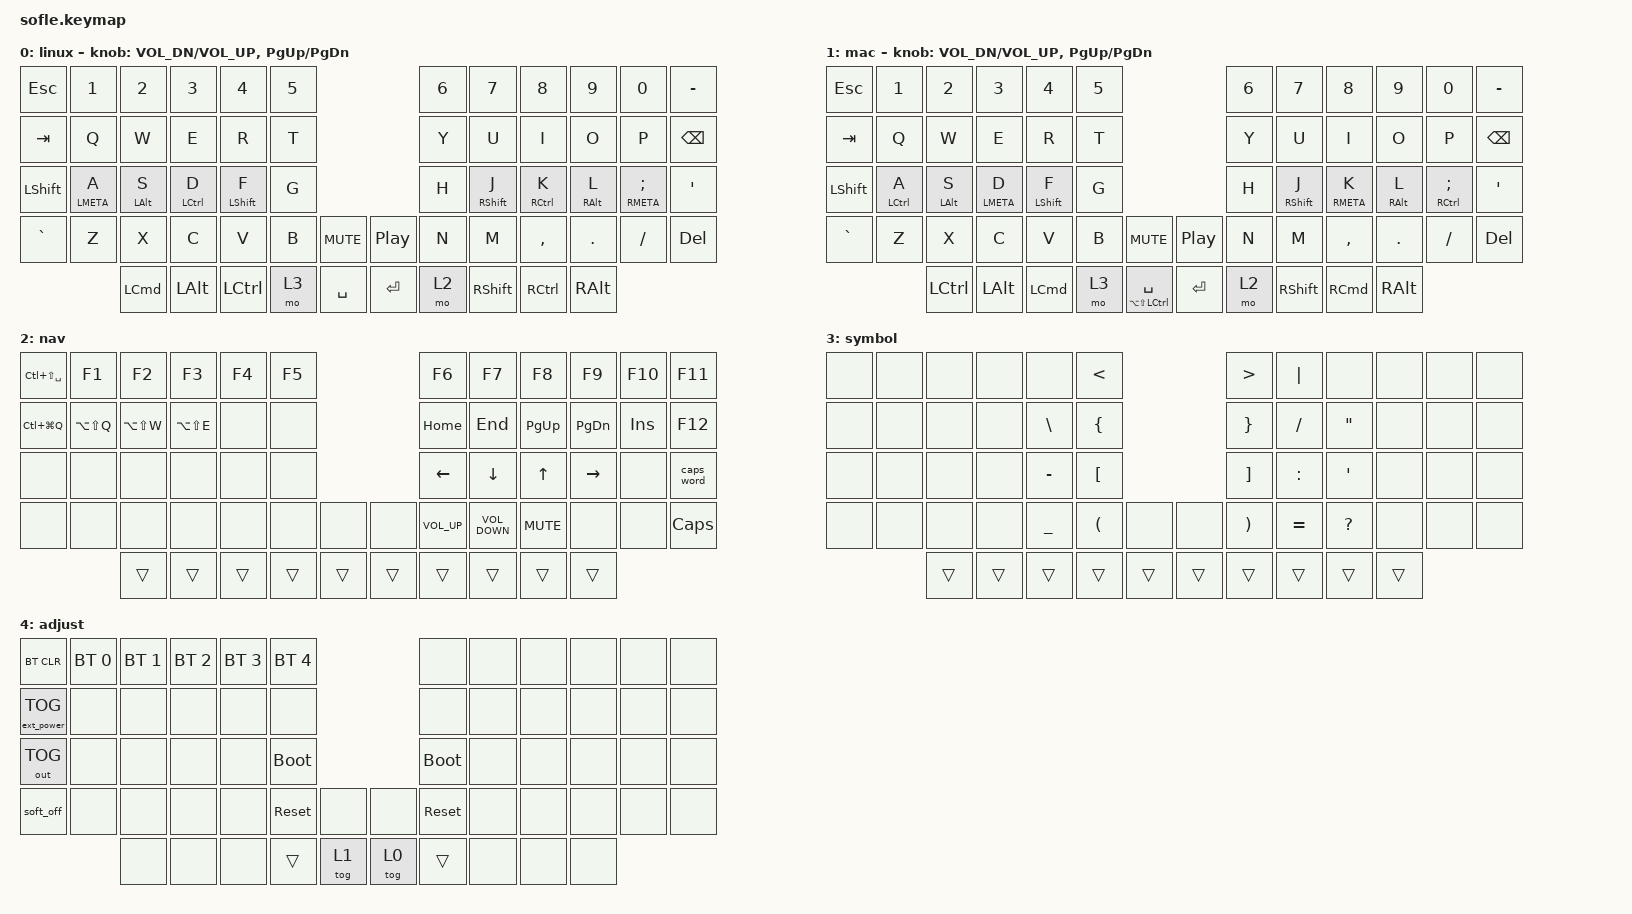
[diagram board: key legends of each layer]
/*
 * Copyright (c) 2020 The ZMK Contributors
 *
 * SPDX-License-Identifier: MIT
 */

#include <behaviors.dtsi>
#include <dt-bindings/zmk/bt.h>
#include <dt-bindings/zmk/ext_power.h>
#include <dt-bindings/zmk/keys.h>
#include <dt-bindings/zmk/outputs.h>

#define BASE 0
#define LOWER 1
#define RAISE 2
#define ADJUST 3

&mt { flavor = "tap-preferred"; };

/ {
    // Activate ADJUST layer by pressing raise and lower

    conditional_layers {
        compatible = "zmk,conditional-layers";

        adjust_layer {
            if-layers = <2 3>;
            then-layer = <4>;
        };
    };

    combos { compatible = "zmk,combos"; };

    behaviors {
        lhrm: lhrm {
            compatible = "zmk,behavior-hold-tap";
            label = "Left-hand HRMs";
            bindings = <&kp>, <&kp>;

            #binding-cells = <2>;
            tapping-term-ms = <280>;
            quick-tap-ms = <175>;
            require-prior-idle-ms = <150>;
            flavor = "balanced";
            hold-trigger-on-release;
            hold-trigger-key-positions = <55 56 57 58 59>;
        };

        rhrm: rhrm {
            compatible = "zmk,behavior-hold-tap";
            label = "Right-hand HRMs";
            bindings = <&kp>, <&kp>;

            #binding-cells = <2>;
            tapping-term-ms = <280>;
            quick-tap-ms = <175>;
            require-prior-idle-ms = <150>;
            flavor = "balanced";
            hold-trigger-on-release;
            hold-trigger-key-positions = <50 51 52 53 54>;
        };
    };

    keymap {
        compatible = "zmk,keymap";

        linux {
            display-name = "linux";
            bindings = <
&kp ESC    &kp N1         &kp N2        &kp N3         &kp N4              &kp N5                                  &kp N6  &kp N7           &kp N8         &kp N9        &kp N0            &kp MINUS
&kp TAB    &kp Q          &kp W         &kp E          &kp R               &kp T                                   &kp Y   &kp U            &kp I          &kp O         &kp P             &kp BSPC
&kp LSHFT  &lhrm LMETA A  &lhrm LALT S  &lhrm LCTRL D  &lhrm LEFT_SHIFT F  &kp G                                   &kp H   &rhrm RSHIFT J   &rhrm RCTRL K  &rhrm RALT L  &rhrm RMETA SEMI  &kp SQT
&kp GRAVE  &kp Z          &kp X         &kp C          &kp V               &kp B   &kp C_MUTE    &kp C_PLAY_PAUSE  &kp N   &kp M            &kp COMMA      &kp DOT       &kp FSLH          &kp DELETE
                          &kp LCMD      &kp LALT       &kp LCTRL           &mo 3   &kp SPACE     &kp ENTER         &mo 2   &kp RIGHT_SHIFT  &kp RCTRL      &kp RALT
            >;

            sensor-bindings =
                <&inc_dec_kp C_VOL_DN C_VOL_UP>,
                <&inc_dec_kp PG_UP PG_DN>;
        };

        mac {
            display-name = "mac";

            // ------------------------------------------------------------------------------------------------------------
            // |   `   |  1  |  2  |  3   |  4   |  5   |                   |  6   |  7    |  8    |  9   |   0   |       |
            // |  ESC  |  Q  |  W  |  E   |  R   |  T   |                   |  Y   |  U    |  I    |  O   |   P   | BKSPC |
            // |  TAB  |  A  |  S  |  D   |  F   |  G   |                   |  H   |  J    |  K    |  L   |   ;   |   '   |
            // | SHIFT |  Z  |  X  |  C   |  V   |  B   |  MUTE  |  |       |  N   |  M    |  ,    |  .   |   /   | SHIFT |
            //               | GUI | ALT  | CTRL | LOWER|  ENTER |  | SPACE | RAISE| CTRL  | ALT   | GUI  |

            bindings = <
&kp ESC     &kp N1         &kp N2        &kp N3         &kp N4          &kp N5                                               &kp N6  &kp N7          &kp N8         &kp N9        &kp N0            &kp MINUS
&kp TAB     &kp Q          &kp W         &kp E          &kp R           &kp T                                                &kp Y   &kp U           &kp I          &kp O         &kp P             &kp BSPC
&kp LSHIFT  &lhrm LCTRL A  &lhrm LALT S  &lhrm LMETA D  &lhrm LSHIFT F  &kp G                                                &kp H   &rhrm RSHIFT J  &rhrm RMETA K  &rhrm RALT L  &rhrm RCTRL SEMI  &kp SQT
&kp GRAVE   &kp Z          &kp X         &kp C          &kp V           &kp B   &kp C_MUTE                 &kp C_PLAY_PAUSE  &kp N   &kp M           &kp COMMA      &kp DOT       &kp FSLH          &kp DELETE
                           &kp LCTRL     &kp LALT       &kp LCMD        &mo 3   &mt LA(LS(LCTRL)) SPACE    &kp ENTER         &mo 2   &kp RSHIFT      &kp RCMD       &kp RALT
            >;

            sensor-bindings =
                <&inc_dec_kp C_VOL_DN C_VOL_UP>,
                <&inc_dec_kp PG_UP PG_DN>;
        };

        nav {
            display-name = "nav";
            bindings = <
&kp LC(LS(SPACE))  &kp F1         &kp F2         &kp F3         &kp F4  &kp F5                    &kp F6           &kp F7             &kp F8        &kp F9           &kp F10     &kp F11
&kp LC(LG(Q))      &kp LA(LS(Q))  &kp LA(LS(W))  &kp LA(LS(E))  &none   &none                     &kp HOME         &kp END            &kp PAGE_UP   &kp PAGE_DOWN    &kp INSERT  &kp F12
&none              &none          &none          &none          &none   &none                     &kp LEFT_ARROW   &kp DOWN_ARROW     &kp UP_ARROW  &kp RIGHT_ARROW  &none       &caps_word
&none              &none          &none          &none          &none   &none   &none     &none   &kp C_VOLUME_UP  &kp C_VOLUME_DOWN  &kp C_MUTE    &none            &none       &kp CAPSLOCK
                                  &trans         &trans         &trans  &trans  &trans    &trans  &trans           &trans             &trans        &trans
            >;

            label = "nav";
        };

        symbol {
            display-name = "symbol";
            bindings = <
&none  &none  &none   &none   &none           &kp LESS_THAN                           &kp GREATER_THAN       &kp PIPE   &none              &none   &none  &none
&none  &none  &none   &none   &kp BACKSLASH   &kp LBRC                                &kp RBRC               &kp SLASH  &kp DOUBLE_QUOTES  &none   &none  &none
&none  &none  &none   &none   &kp MINUS       &kp LBKT                                &kp RBKT               &kp COLON  &kp SINGLE_QUOTE   &none   &none  &none
&none  &none  &none   &none   &kp UNDERSCORE  &kp LEFT_PARENTHESIS  &none     &none   &kp RIGHT_PARENTHESIS  &kp EQUAL  &kp QUESTION       &none   &none  &none
              &trans  &trans  &trans          &trans                &trans    &trans  &trans                 &trans     &trans             &trans
            >;
        };

        adjust {
            // ----------------------------------------------------------------------------------------------------------------------------
            // | BTCLR  |  BT1    |  BT2    |   BT3   |   BT4   |   BT5   |                  |      |      |       |      |       |       |
            // | EXTPWR | RGB_HUD | RGB_HUI | RGB_SAD | RGB_SAI | RGB_EFF |                  |      |      |       |      |       |       |
            // |        | RGB_BRD | RGB_BRI |         |         |         |                  |      |      |       |      |       |       |
            // |        |         |         |         |         |         | RGB_TOG | |      |      |      |       |      |       |       |
            //                    |         |         |         |         |         | |      |      |      |       |      |

            display-name = "adjust";
            bindings = <
&bt BT_CLR         &bt BT_SEL 0  &bt BT_SEL 1  &bt BT_SEL 2  &bt BT_SEL 3  &bt BT_SEL 4                    &none        &none  &none  &none  &none  &none
&ext_power EP_TOG  &none         &none         &none         &none         &none                           &none        &none  &none  &none  &none  &none
&out OUT_TOG       &none         &none         &none         &none         &bootloader                     &bootloader  &none  &none  &none  &none  &none
&soft_off          &none         &none         &none         &none         &sys_reset    &none     &none   &sys_reset   &none  &none  &none  &none  &none
                                 &none         &none         &none         &trans        &tog 1    &tog 0  &trans       &none  &none  &none
            >;
        };
    };
};
